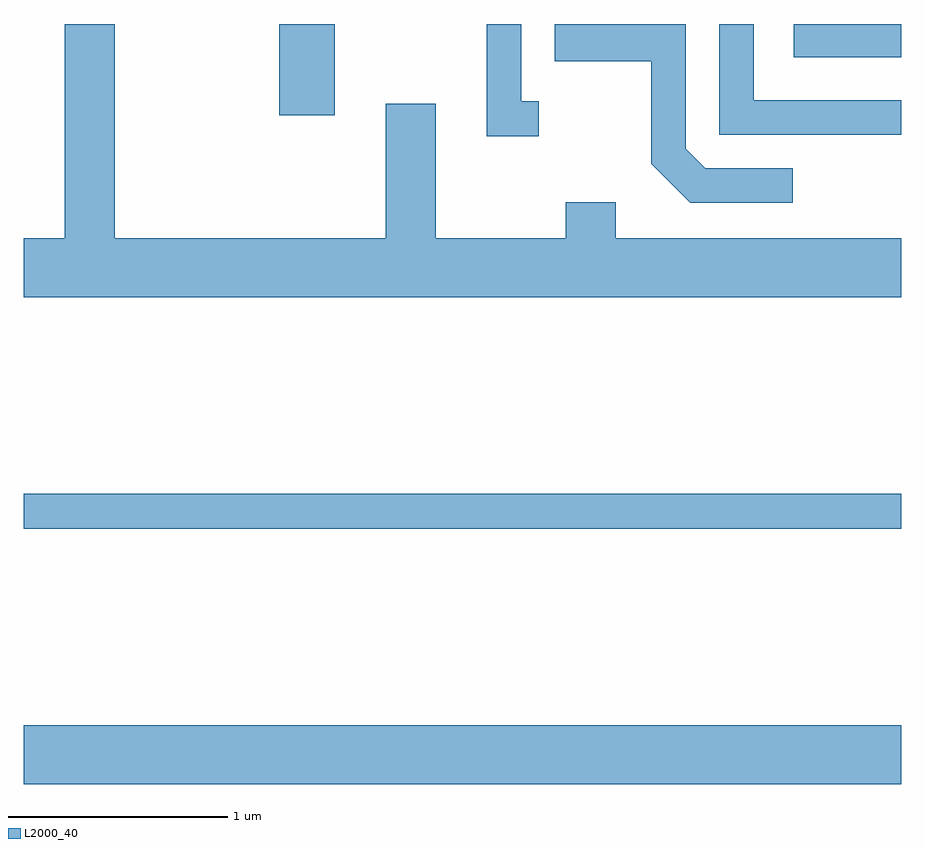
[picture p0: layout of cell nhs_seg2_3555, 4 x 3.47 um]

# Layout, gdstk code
import gdstk
lib = gdstk.Library(unit=1e-6, precision=1e-09)
def R(c, l, rs):  # rectangles x0, y0, x1, y1
    for r in rs: c.add(gdstk.rectangle(r[:2], r[2:], *l))
def P(c, l, *ps):  # polygons
    for p in ps: c.add(gdstk.Polygon(p, *l))
L2000_40 = (2000, 40)

nhs_seg2_3555 = lib.new_cell('nhs_seg2_3555')
R(nhs_seg2_3555, L2000_40, [(289.611,1028.336,293.611,1028.604), (289.611,1029.501,293.611,1029.659), (290.776,1031.386,291.029,1031.802), (293.121,1031.651,293.611,1031.802)])
P(nhs_seg2_3555, L2000_40, [(293.611,1030.824),(292.309,1030.824),(292.309,1030.989),(292.081,1030.989),(292.081,1030.824),(291.489,1030.824),(291.489,1031.439),(291.261,1031.439),(291.261,1030.824),(290.024,1030.824),(290.024,1031.802),(289.796,1031.802),(289.796,1030.824),(289.611,1030.824),(289.611,1030.556),(293.611,1030.556)],
  [(293.611,1031.454),(292.939,1031.454),(292.939,1031.802),(292.781,1031.802),(292.781,1031.296),(293.611,1031.296)],
  [(291.958,1031.449),(291.879,1031.449),(291.879,1031.802),(291.721,1031.802),(291.721,1031.291),(291.958,1031.291)],
  [(293.118,1031.144),(292.717,1031.144),(292.629,1031.232),(292.629,1031.802),(292.031,1031.802),(292.031,1031.631),(292.471,1031.631),(292.471,1031.164),(292.649,1030.986),(293.118,1030.986)])

lib.write_gds('nhs_seg2_3555.gds')
